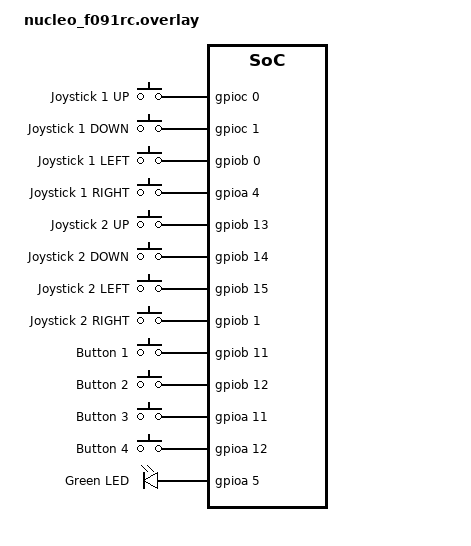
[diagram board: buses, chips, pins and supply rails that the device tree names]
/ {
    gpio_keys {
        compatible = "gpio-keys";

        /* Joystick 1 */
        j1upbtn: j1up {
            gpios = <&gpioc 0 GPIO_ACTIVE_HIGH>;
            label = "Joystick 1 UP";
        };
        j1downbtn: j1down {
            gpios = <&gpioc 1 GPIO_ACTIVE_HIGH>;
            label = "Joystick 1 DOWN";
        };
        j1leftbtn: j1left {
            gpios = <&gpiob 0 GPIO_ACTIVE_HIGH>;
            label = "Joystick 1 LEFT";
        };
        j1rightbtn: j1right {
            gpios = <&gpioa 4 GPIO_ACTIVE_HIGH>;
            label = "Joystick 1 RIGHT";
        };

        /* Joystick 2 */
        j2upbtn: j2up {
            gpios = <&gpiob 13 GPIO_ACTIVE_HIGH>;
            label = "Joystick 2 UP";
        };
        j2downbtn: j2down {
            gpios = <&gpiob 14 GPIO_ACTIVE_HIGH>;
            label = "Joystick 2 DOWN";
        };
        j2leftbtn: j2left {
            gpios = <&gpiob 15 GPIO_ACTIVE_HIGH>;
            label = "Joystick 2 LEFT";
        };
        j2rightbtn: j2right {
            gpios = <&gpiob 1 GPIO_ACTIVE_HIGH>;
            label = "Joystick 2 RIGHT";
        };

        /* Buttons */
        btn1btn: btn1 {
            gpios = <&gpiob 11 GPIO_ACTIVE_HIGH>;
            label = "Button 1";
        };
        btn2btn: btn2 {
            gpios = <&gpiob 12 GPIO_ACTIVE_HIGH>;
            label = "Button 2";
        };
        btn3btn: btn3 {
            gpios = <&gpioa 11 GPIO_ACTIVE_HIGH>;
            label = "Button 3";
        };
        btn4btn: btn4 {
            gpios = <&gpioa 12 GPIO_ACTIVE_HIGH>;
            label = "Button 4";
        };
    };

    leds {
        compatible = "gpio-leds";
        greenled: led {
            gpios = <&gpioa 5 GPIO_ACTIVE_HIGH>;
            label = "Green LED";
        };
    };

    aliases {
        led = &greenled;
        j1up = &j1upbtn;
        j1down = &j1downbtn;
        j1left = &j1leftbtn;
        j1right = &j1rightbtn;

        j2up = &j2upbtn;
        j2down = &j2downbtn;
        j2left = &j2leftbtn;
        j2right = &j2rightbtn;

        btn1 = &btn1btn;
        btn2 = &btn2btn;
        btn3 = &btn3btn;
        btn4 = &btn4btn;
    };
};
